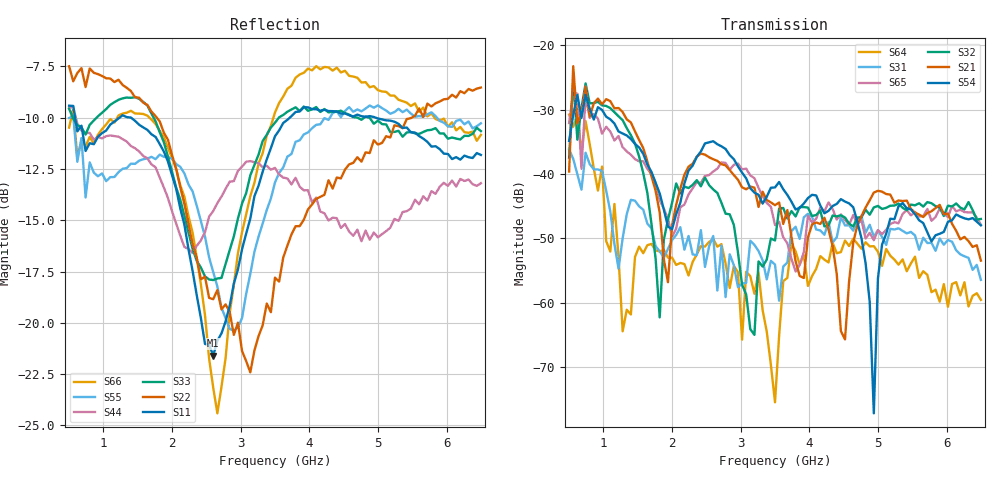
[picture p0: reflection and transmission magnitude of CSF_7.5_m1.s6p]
!Keysight Technologies,M9804A,MY58100912,A.14.10.03
!Date: Thursday, April 27, 2023 10:28:33
!Correction: S11(C  6-Port  )
!S12(C  6-Port  )
!S13(C  6-Port  )
!S14(C  6-Port  )
!S15(C  6-Port  )
!S16(C  6-Port  )
!S21(C  6-Port  )
!S22(C  6-Port  )
!S23(C  6-Port  )
!S24(C  6-Port  )
!S25(C  6-Port  )
!S26(C  6-Port  )
!S31(C  6-Port  )
!S32(C  6-Port  )
!S33(C  6-Port  )
!S34(C  6-Port  )
!S35(C  6-Port  )
!S36(C  6-Port  )
!S41(C  6-Port  )
!S42(C  6-Port  )
!S43(C  6-Port  )
!S44(C  6-Port  )
!S45(C  6-Port  )
!S46(C  6-Port  )
!S51(C  6-Port  )
!S52(C  6-Port  )
!S53(C  6-Port  )
!S54(C  6-Port  )
!S55(C  6-Port  )
!S56(C  6-Port  )
!S61(C  6-Port  )
!S62(C  6-Port  )
!S63(C  6-Port  )
!S64(C  6-Port  )
!S65(C  6-Port  )
!S66(C  6-Port  )
!S6P File: Measurement: :
# Hz S  RI  R 50
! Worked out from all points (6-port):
!   101 points, 500 MHz to 6.5 GHz, reference 50 ohm
!   strongest paths, dB at 500 MHz, 2 GHz, 3.5 GHz, 5 GHz, 6.5 GHz:
!     S54: -34.9, -48.6, -42.1, -56.2, -48.0
!     S21: -39.6, -48.0, -44.8, -42.6, -53.4
!     S32: -37.5, -44.5, -50.3, -45.0, -47.0
!     S65: -32.1, -49.7, -47.9, -48.7, -47.9
!     S31: -36.2, -50.2, -54.1, -48.7, -56.4
!     S64: -30.8, -53.0, -75.5, -52.1, -59.5
!   lowest |S11| = -21.6 dB at 2.6 GHz (marker M1), VSWR 1.18, Z = 42.6 + j2.07 ohm
!   |S11| at or under -10 dB: 587.8 MHz to 1.234 GHz (645.7 MHz wide, 70.9 % of centre); 1.403 GHz to 3.715 GHz (2.312 GHz wide, 90.4 % of centre); 4.968 GHz to end of sweep
